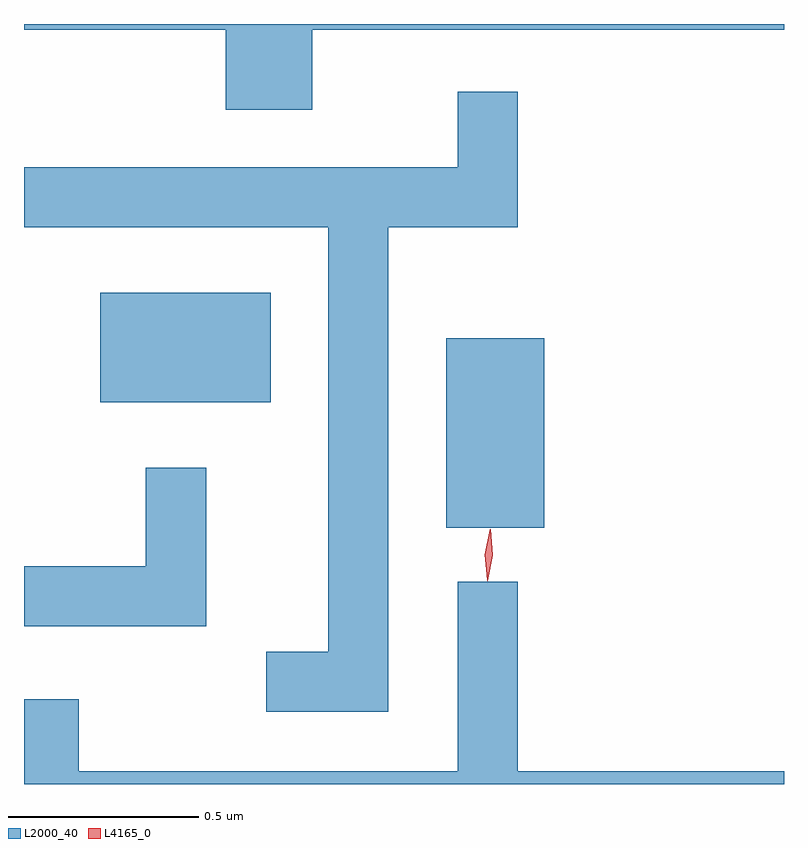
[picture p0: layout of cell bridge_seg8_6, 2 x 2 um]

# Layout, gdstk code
import gdstk
lib = gdstk.Library(unit=1e-6, precision=1e-09)
def R(c, l, rs):  # rectangles x0, y0, x1, y1
    for r in rs: c.add(gdstk.rectangle(r[:2], r[2:], *l))
def P(c, l, *ps):  # polygons
    for p in ps: c.add(gdstk.Polygon(p, *l))
L2000_40 = (2000, 40)
L4165_0 = (4165, 0)

bridge_seg8_6 = lib.new_cell('bridge_seg8_6')
R(bridge_seg8_6, L2000_40, [(1667.496,1879.506,1667.754,1880.004), (1666.586,1879.836,1667.034,1880.124)])
P(bridge_seg8_6, L2000_40, [(1667.144,1880.816),(1668.385,1880.816),(1668.385,1880.831),(1666.385,1880.831),(1666.385,1880.816),(1666.916,1880.816),(1666.916,1880.606),(1667.144,1880.606)],
  [(1667.344,1880.296),(1667.684,1880.296),(1667.684,1880.653),(1667.526,1880.653),(1667.526,1880.454),(1666.385,1880.454),(1666.385,1880.296),(1667.186,1880.296),(1667.186,1879.179),(1667.023,1879.179),(1667.023,1879.021),(1667.344,1879.021)],
  [(1666.864,1879.663),(1666.706,1879.663),(1666.706,1879.404),(1666.385,1879.404),(1666.385,1879.246),(1666.864,1879.246)],
  [(1668.385,1878.864),(1667.684,1878.864),(1667.684,1879.363),(1667.526,1879.363),(1667.526,1878.864),(1666.529,1878.864),(1666.529,1879.054),(1666.385,1879.054),(1666.385,1878.831),(1668.385,1878.831)])
P(bridge_seg8_6, L4165_0, [(1667.605,1879.365),(1667.604,1879.366),(1667.599,1879.434),(1667.612,1879.501),(1667.613,1879.502),(1667.613,1879.501),(1667.619,1879.433),(1667.606,1879.366)],
  [(1667.605,1879.368),(1667.604,1879.369),(1667.598,1879.434),(1667.611,1879.499),(1667.611,1879.5),(1667.612,1879.499),(1667.618,1879.433),(1667.606,1879.369)])

lib.write_gds('bridge_seg8_6.gds')
